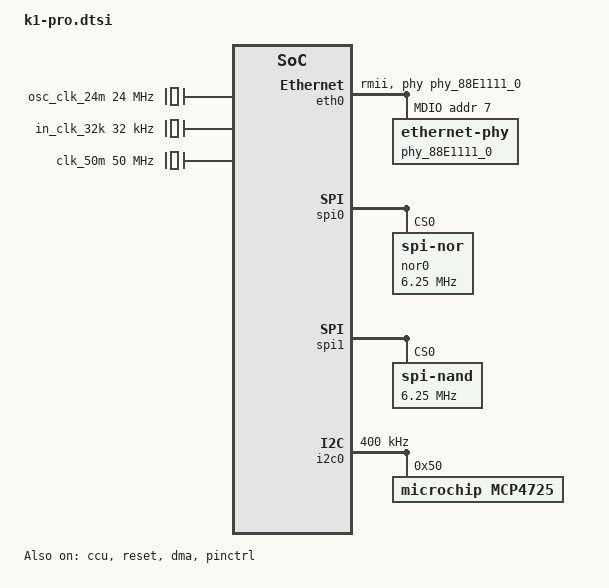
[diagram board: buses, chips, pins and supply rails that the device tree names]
// SPDX-License-Identifier: (GPL-2.0 OR MIT)
/* Copyright (c) 2022 Spacemit, Inc */

/dts-v1/;
#include <dt-bindings/reset/reset-k1pro.h>
#include <dt-bindings/clock/k1pro-clock.h>
/dts-v1/;
/ {
	compatible = "spacemit,k1-pro", "riscv";
	#address-cells = <2>;
	#size-cells = <2>;

	aliases {
		serial0 = &uart0;
	};

	cpus: cpus {
		#address-cells = <1>;
		#size-cells = <0>;
		timebase-frequency = <50000000>;
		u-boot,dm-spl;
		cpu_0: cpu@0 {
			device_type = "cpu";
			reg = <0>;
			status = "okay";
			compatible = "riscv";
			riscv,isa = "rv64imafdcvsu_zicsr_zifencei_zicbom_zihintpause_zba_zbb_zbc_zbs_svpbmt";
			riscv,cbom-block-size = <64>;
			mmu-type = "riscv,sv39";
			cpu-freq = "1.848Ghz";
			cpu-icache = "64KB";
			cpu-dcache = "64KB";
			cpu-l2cache = "1MB";
			cpu-tlb = "1024 4-ways";
			cpu-cacheline = "64Bytes";
			cpu-vector = "0.7.1";
			u-boot,dm-spl;
			cpu0_intc: interrupt-controller {
				#interrupt-cells = <1>;
				compatible = "riscv,cpu-intc";
				interrupt-controller;
				u-boot,dm-spl;
			};
		};
		cpu_1: cpu@1 {
			device_type = "cpu";
			reg = <1>;
			status = "okay";
			compatible = "riscv";
			riscv,isa = "rv64imafdcvsu_zicsr_zifencei_zicbom_zihintpause_zba_zbb_zbc_zbs_svpbmt";
			riscv,cbom-block-size = <64>;
			mmu-type = "riscv,sv39";
			cpu-freq = "1.848Ghz";
			cpu-icache = "64KB";
			cpu-dcache = "64KB";
			cpu-l2cache = "1MB";
			cpu-tlb = "1024 4-ways";
			cpu-cacheline = "64Bytes";
			cpu-vector = "0.7.1";
			u-boot,dm-spl;

			cpu1_intc: interrupt-controller {
				#interrupt-cells = <1>;
				compatible = "riscv,cpu-intc";
				interrupt-controller;
				u-boot,dm-spl;
			};
		};
		cpu_2: cpu@2 {
			device_type = "cpu";
			reg = <2>;
			status = "okay";
			compatible = "riscv";
			riscv,isa = "rv64imafdcvsu_zicsr_zifencei_zicbom_zihintpause_zba_zbb_zbc_zbs_svpbmt";
			riscv,cbom-block-size = <64>;
			mmu-type = "riscv,sv39";
			cpu-freq = "1.848Ghz";
			cpu-icache = "64KB";
			cpu-dcache = "64KB";
			cpu-l2cache = "1MB";
			cpu-tlb = "1024 4-ways";
			cpu-cacheline = "64Bytes";
			cpu-vector = "0.7.1";
			u-boot,dm-spl;

			cpu2_intc: interrupt-controller {
				#interrupt-cells = <1>;
				compatible = "riscv,cpu-intc";
				interrupt-controller;
				u-boot,dm-spl;
			};
		};
		cpu_3: cpu@3 {
			device_type = "cpu";
			reg = <3>;
			status = "okay";
			compatible = "riscv";
			riscv,isa = "rv64imafdcvsu_zicsr_zifencei_zicbom_zihintpause_zba_zbb_zbc_zbs_svpbmt";
			riscv,cbom-block-size = <64>;
			mmu-type = "riscv,sv39";
			cpu-freq = "1.848Ghz";
			cpu-icache = "64KB";
			cpu-dcache = "64KB";
			cpu-l2cache = "1MB";
			cpu-tlb = "1024 4-ways";
			cpu-cacheline = "64Bytes";
			cpu-vector = "0.7.1";
			u-boot,dm-spl;

			cpu3_intc: interrupt-controller {
				#interrupt-cells = <1>;
				compatible = "riscv,cpu-intc";
				interrupt-controller;
				u-boot,dm-spl;
			};
		};
	};

	clocks {
		#address-cells = <0x2>;
		#size-cells = <0x2>;
		ranges;
		u-boot,dm-spl;

		clk_dummy: clk_dummy {
			#clock-cells = <0>;
			compatible = "fixed-clock";
			clock-frequency = <0>;
			clock-output-names = "clk_dummy";
			u-boot,dm-spl;
		};

		osc_clk_24m: osc_clk_24m {
			#clock-cells = <0>;
			compatible = "fixed-clock";
			clock-frequency = <24000000>;
			clock-output-names = "osc_clk_24m";
			u-boot,dm-spl;
		};

		in_clk_32k: in_clk_32k {
			#clock-cells = <0>;
			compatible = "fixed-clock";
			clock-frequency = <32000>;
			clock-output-names = "in_clk_32k";
			u-boot,dm-spl;
		};

		clk_50m: clk_50m {
			#clock-cells = <0>;
			compatible = "fixed-clock";
			clock-frequency = <50000000>;
			clock-output-names = "clk_50m";
			u-boot,dm-spl;
		};

		pll_clk_usb2: clock-pll_usb2 {
			#clock-cells = <0>;
			compatible = "fixed-clock";
			clock-frequency = <50000000>;
			clock-output-names = "pll_usb2";
			u-boot,dm-spl;
		};
	};

	soc {
		compatible = "simple-bus";
		#address-cells = <2>;
		#size-cells = <2>;
		ranges;
		u-boot,dm-spl;

		clint0: clint@14000000 {
			compatible = "riscv,clint0";
			interrupts-extended = <
				&cpu0_intc  3 &cpu0_intc  7
				&cpu1_intc  3 &cpu1_intc  7
				&cpu2_intc  3 &cpu2_intc  7
				&cpu3_intc  3 &cpu3_intc  7
			>;
			reg = <0x0 0x14000000 0x0 0x00010000>;
			clint,has-no-64bit-mmio;
			u-boot,dm-spl;
		};

		intc: interrupt-controller@10000000 {
			#interrupt-cells = <1>;
			compatible = "riscv,plic0";
			interrupt-controller;
			interrupts-extended = <
				&cpu0_intc 0xffffffff &cpu0_intc 9
				&cpu1_intc 0xffffffff &cpu1_intc 9
				&cpu2_intc 0xffffffff &cpu2_intc 9
				&cpu3_intc 0xffffffff &cpu3_intc 9
			>;
			reg = <0x0 0x10000000 0x0 0x04000000>;
			reg-names = "control";
			riscv,max-priority = <7>;
			riscv,ndev = <159>;
		};

		ccu:clock-controller@2f020000 {
			#address-cells = <0x1>;
			#size-cells = <0x1>;
			compatible = "spacemit,k1pro-ccu";
			reg = <0x0 0x2f020000 0x0 0x4000>, <0x0 0x2f804000 0x0 0xc000>;
			clocks = <&osc_clk_24m>, <&in_clk_32k>, <&clk_dummy>;
			clock-names = "osc_clk_24m", "in_clk_32k", "clk_dummy";
			#clock-cells = <1>;
			u-boot,dm-spl;
			status = "okay";
		};
		reset: reset-controller@2f024000 {
			#address-cells = <0x1>;
			#size-cells = <0x1>;
			compatible = "spacemit,k1pro-reset";
			reg = <0x0 0x2f024000 0x0 0x4000>, <0x0 0x2f804000 0x0 0xc000>;
			#reset-cells = <1>;
			u-boot,dm-spl;
			status = "okay";
		};

		/* Normal serial, log */
		uart0: serial@2cea0000 {
			compatible = "snps,dw-apb-uart";
			reg = <0x0 0x2cea0000 0x0 0x1000>;
			interrupt-parent = <&intc>;
			interrupts = <56>;
			clock-frequency = <50000000>;
			reg-shift = <2>;
			reg-io-width = <4>;
			hw-flow-control = "unsupport";
			u-boot,dm-spl;
			status = "disabled";
		};

		dma: dma@2ce40000 {
			compatible = "dw_axi_dma";
			reg = <0x0 0x2ce40000 0x0 0x1000>;
			max_block_ts = "0x400000";
			dma-channels = "8";
			dma-cells = <2>;
			resets = <&reset RESET_DMAC>;
			clocks = <&clk_50m>;
			status = "okay";
		};

		gpio0: gpio@2ce80000 {
			compatible = "snps,dw-apb-gpio";
			reg = <0x0 0x2ce80000 0x0 0x4000>;
			#address-cells = <1>;
			#size-cells = <0>;
			resets = <&reset RESET_GPIO>;
			u-boot,dm-spl;

			porta: gpio-port@0 {
				compatible = "snps,dw-apb-gpio-port";
				gpio-controller;
				#gpio-cells = <2>;
				snps,nr-gpios = <30>;
				reg = <0>;

				interrupt-controller;
				#interrupt-cells = <2>;
				interrupt-parent = <&intc>;
				interrupts = <72>;
				u-boot,dm-spl;
			};
		};

		pinctrl: pinctrl@2f02c000 {
			compatible = "spacemit,k1pro-pinctrl";
			reg = <0x0 0x2f02c000 0x0 0x4000>;
			resets = <&reset RESET_SYSREG>;
			u-boot,dm-spl;
			status = "okay";
		};

		usbdrd3: usb3@0 {
			compatible = "spacemit,k1-pro-dwc3";
			#address-cells = <2>;
			#size-cells = <2>;
			resets = <&reset RESET_USB31CTL_RSTN>;
			reset-names = "ctl_rst";
			ranges;
			status = "disabled";

			dwc3@2cb00000 {
				compatible = "snps,dwc3";
				reg = <0x0 0x2cb00000 0x0 0x10000>;
				interrupt-parent = <&intc>;
				interrupts = <90>;
				maximum-speed = "high-speed";
				phy_type = "ulpi";
				dr_mode = "otg";
				snps,dis_u2_susphy_quirk;
				snps,dis_u3_susphy_quirk;
			};
		};

		usbotg: usb2@2cb40000 {
			compatible = "spacemit,k1-pro-usb", "snps,dwc2";
			reg = <0x0 0x2cb40000 0x0 0x40000>;
			interrupt-parent = <&intc>;
			interrupts = <91>;
			resets = <&reset RESET_USB20_OTG_HRESETN>, <&reset RESET_USB20_OTG_PRSTN>;
			reset-names = "dwc2", "dwc2-ecc";
			clocks = <&clk_50m>;
			dr_mode = "otg";
			g-np-tx-fifo-size = <32>;
			g-rx-fifo-size = <544>;
			g-tx-fifo-size = <768 256 256 64 64>;
			u-boot,dm-spl;
			status = "disabled";
		};

		eth0: ethernet@2cc00000 {
			compatible = "spacemit,k1pro-dwmac-eqos";
			reg = <0x0 0x2cc00000 0x0 0x10000>;
			resets = <&reset RESET_GMAC_CSR>, <&reset RESET_GMAC_DMA>;
			reset-names = "gmac_csr", "gmac_dma";
			snps,pbl = <32>;
			snps,fixed-burst;
			max-speed = <100>;

			phy-mode = "rmii";
			phy-handle = <&phy_88E1111_0>;
			status = "okay";
			mdio {
				#address-cells = <1>;
				#size-cells = <0>;
				compatible = "snps,dwmac-mdio";

				phy_88E1111_0: ethernet-phy@1 {
					reg = <0x7>;
				};
			};
		};
		mmc1: sd@2ca40000 {
			compatible = "spacemit,k1-pro-sdhci";
			reg = <0x0 0x2ca40000 0x0 0x10000>;
			interrupt-parent = <&intc>;
			interrupts = <84>;
			clocks = <&clk_50m>;
			resets = <&reset RESET_SDIO0>;
			max-frequency = <400000000>;
			bus-width = <4>;
			u-boot,dm-spl;
			status = "disabled";
		};
		mmc0: emmc@2ca00000 {
			compatible = "spacemit,k1-pro-sdhci";
			reg = <0x0 0x2ca00000 0x0 0x10000>;
			interrupt-parent = <&intc>;
			interrupts = <82>;
			clocks = <&clk_50m>;
			resets = <&reset RESET_EMMC0>;
			max-frequency = <400000000>;
			bus-width = <8>;
			cap-mmc-highspeed;
			mmc-ddr-1_8v;
			mmc-hs200-1_8v;
			mmc-hs400-1_8v;
			mmc-hs400-enhanced-strobe;
			no-sd;
			no-sdio;
			disable-wp;
			non-removable;
			u-boot,dm-spl;
			status = "disabled";
		};

		pcie5: pcie@41400000 {
			compatible = "spacemit,k1-pro-pcie";
			reg = <0x0 0x41400000 0x0 0x400000>,
				  <0x0 0x44500000 0x0 0x100000>,
				  <0x0 0x70000000 0x0 0x100000>;
			reg-names = "dbi", "app", "config";
			num-lanes = <4>;
			device_type = "pci";

			#address-cells = <3>;
			#size-cells = <2>;
			ranges = <0x81000000 0 0x70100000 0 0x70100000 0 0x00100000>,	/* downstream I/O */
				 <0x82000000 0 0x70200000 0 0x70200000 0 0x05e00000>,	/* non-prefetchable memory */
				 <0xc3000000 0 0x76000000 0 0x76000000 0 0x02000000>;	/* mem prefetchable */
			bus-range = <0x00 0xff>;

			interrupt-parent = <&intc>;
			interrupts = <157>;
			interrupt-names = "msi";

			clock-names = "pcie_en";
			clocks = <&ccu CLK_PCIE5_EN>;
			resets = <&reset RESET_PCIE5_POWERUP>,
				 <&reset RESET_PCIE5_PERST>;
			reset-names = "powerup", "perst";
			status = "disabled";
		};

		spi0: spi@2ce00000 {
			compatible = "snps,dwc-ssi-1.01a";
			reg = <0x0 0x2ce00000 0x0 0x4000>;

			interrupt-parent = <&intc>;
			interrupts = <96>;
			clocks = <&clk_50m>;
			resets = <&reset RESET_QSPI0>;
			spi-max-frequency = <6250000>;
			num-cs = <4>;
			reg-io-width = <4>;
			#address-cells = <1>;
			#size-cells = <0>;
			u-boot,dm-spl;
			status = "okay";

			nor0 {
				compatible = "jedec,spi-nor";
				reg = <0>;
				m25p,fast-read;
				spi-tx-bus-width = <1>;
				spi-rx-bus-width = <1>;
				spi-max-frequency = <6250000>;
				broken-flash-reset;
				u-boot,dm-spl;
				status = "okay";
			};
		};

		spi1: spi@2ce04000 {
			compatible = "snps,dwc-ssi-1.01a";
			reg = <0x0 0x2ce04000 0x0 0x4000>;

			interrupt-parent = <&intc>;
			interrupts = <97>;
			clocks = <&clk_50m>;
			resets = <&reset RESET_QSPI1>;
			spi-max-frequency = <6250000>;
			num-cs = <4>;
			reg-io-width = <4>;
			#address-cells = <1>;
			#size-cells = <0>;
			u-boot,dm-spl;
			status = "okay";

			spi-nand@0 {
				compatible = "spi-nand";
				reg = <0>;
				spi-tx-bus-width = <1>;
				spi-rx-bus-width = <1>;
				spi-max-frequency = <6250000>;
				u-boot,dm-spl;
				status = "okay";
			};
		};

		i2c0: i2c@2cee0000 {
			#address-cells = <1>;
			#size-cells = <0>;
			compatible = "snps,designware-i2c";
			clocks = <&clk_50m>;
			resets = <&reset RESET_I2C0>;
			reg = <0x0 0x2cee0000 0x0 0x4000>;
			clock-frequency = <400000>;
			status = "okay";

			mcp4725@50 {
				compatible = "microchip,mcp4725";
				reg = <0x50>;
				status = "okay";
			};
		};
	};

	pmu {
		compatible = "riscv,pmu";

		riscv,event-to-mhpmevent =
			/* BRANCH_INSTRUCTIONS */
			<0x00005 0x0 0x01>,
			/* BRANCH_MISSES */
			<0x00006 0x0 0x02>,
			/* STALLED_CYCLES_FRONTEND */
			<0x00008 0x0 0x03>,
			/* STALLED_CYCLES_BACKEND */
			<0x00009 0x0 0x04>,
			/* L1D_READ_ACCESS */
			<0x10000 0x0 0x06>,
			/* L1D_READ_MISS */
			<0x10001 0x0 0x05>,
			/* L1D_WRITE_ACCESS */
			<0x10002 0x0 0x0a>,
			/* L1D_WRITE_MISS */
			<0x10003 0x0 0x09>,
			/* L1I_READ_ACCESS */
			<0x10008 0x0 0x0c>,
			/* L1I_READ_MISS */
			<0x10009 0x0 0x0b>,
			/* L1I_PREFETCH_ACCESS */
			<0x1000c 0x0 0x0e>,
			/* L1I_PREFETCH_MISS */
			<0x1000d 0x0 0x0d>,
			/* DTLB_READ_MISS */
			<0x10019 0x0 0x15>,
			/* DTLB_WRITE_MISS */
			<0x1001b 0x0 0x19>,
			/* ITLB_READ_MISS */
			<0x10021 0x0 0x1b>;

		/* 16 valid counters: mhpmcounter3 ~ mhpmcounter18 */
		riscv,event-to-mhpmcounters =
			<0x00005 0x00006 0x0007fff8>,
			<0x00008 0x00009 0x0007fff8>,
			<0x10000 0x10003 0x0007fff8>,
			<0x10008 0x10009 0x0007fff8>,
			<0x1000c 0x1000d 0x0007fff8>,
			<0x10019 0x10019 0x0007fff8>,
			<0x1001b 0x1001b 0x0007fff8>,
			<0x10021 0x10021 0x0007fff8>;

		riscv,raw-event-to-mhpmcounters =
			/*
			 * For convenience, we treat 0x1~0xff as valid indexes,
			 * but actually in hardware the valid indexes are 0x1~0xbd.
			 */
			<0x0 0x0 0xffffffff 0xffffff00 0x0007fff8>;

	};
};

